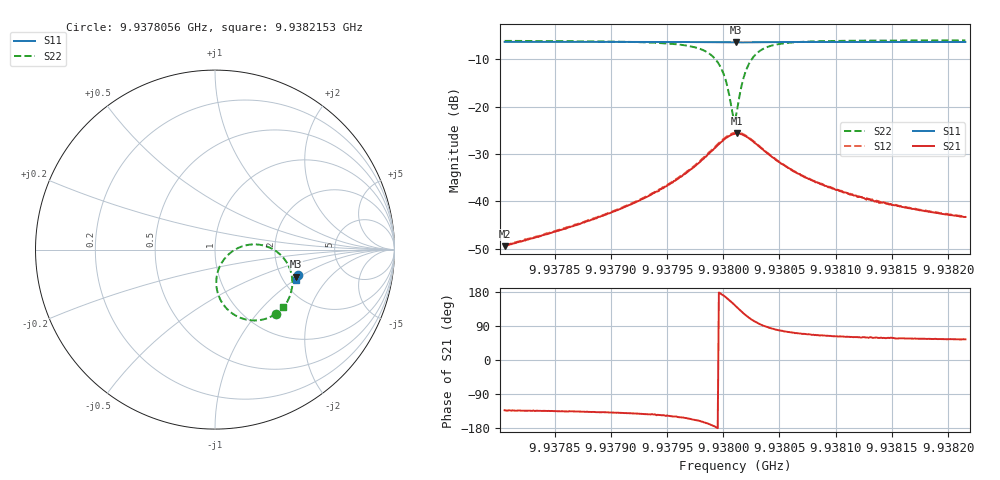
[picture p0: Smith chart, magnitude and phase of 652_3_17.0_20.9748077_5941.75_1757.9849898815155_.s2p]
#  HZ  S  RI  R  50.00
! Rohde & Schwarz Vector Network Analyzer
! Rohde-Schwarz,ZNB20-2Port,1311601062101988,3.16
! Created: UTC 3/20/2024, 11:21:18 PM
! freq[Hz]  re:S11  im:S11  re:S21  im:S21  re:S12  im:S12  re:S22  im:S22
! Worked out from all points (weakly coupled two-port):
!   401 points, 9.9378056 GHz to 9.9382153 GHz, reference 50 ohm
!   highest |S21| = -25.67 dB at 9.9380125 GHz (marker M1); lowest = -49.4 dB at 9.9378056 GHz (marker M2)
!   lowest |S11| = -6.5 dB at 9.9380115 GHz (marker M3), VSWR 2.81, Z = 119 - j46.5 ohm
!   |S11| at or under -10 dB: nowhere
!   |S22| runs from -22.6 to -6.1 dB; largest |S21 - S12| = 0.0022
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9.9378056e9  0.4603 -0.1414  -0.00229 -0.00248  -0.00238 -0.00249  0.3404 -0.3567
9.93787422e9  0.4584 -0.1462  -0.00428 -0.00411  -0.00439 -0.00411  0.3191 -0.3697
9.93791417e9  0.4569 -0.1491  -0.00688 -0.00571  -0.00704 -0.00572  0.2942 -0.3812
9.93794284e9  0.4559 -0.1514  -0.0106 -0.00736  -0.0111 -0.00751  0.2591 -0.3911
9.93797459e9  0.4537 -0.1538  -0.0216 -0.00879  -0.0222 -0.00872  0.1666 -0.3881
9.93799098e9  0.4517 -0.1546  -0.0348 -0.00386  -0.036 -0.00327  0.0652 -0.3288
9.9379961e9  0.4508 -0.1546  -0.0402 0.0013  -0.0412 0.0022  0.0301 -0.2793
9.9380002e9  0.4501 -0.1541  -0.0439 0.00763  -0.0447 0.00878  0.0107 -0.2223
9.93800327e9  0.4495 -0.1535  -0.0454 0.0136  -0.0462 0.0152  0.00736 -0.1696
9.93800839e9  0.4494 -0.1525  -0.0442 0.0256  -0.0444 0.0276  0.0368 -0.0743
9.93801044e9  0.4494 -0.152  -0.042 0.0303  -0.0419 0.0324  0.0624 -0.04
9.93801146e9  0.4495 -0.1516  -0.0403 0.0326  -0.0403 0.0346  0.0776 -0.0248
9.93801249e9  0.4497 -0.1515  -0.0389 0.0346  -0.0385 0.0365  0.0943 -0.0115
9.93801658e9  0.4504 -0.1508  -0.0306 0.0407  -0.0299 0.0425  0.1703 0.0235
9.93801966e9  0.4509 -0.1504  -0.0237 0.0428  -0.0228 0.0443  0.2282 0.029
9.93802375e9  0.4518 -0.1506  -0.0153 0.0428  -0.0142 0.0439  0.2954 0.0148
9.9380299e9  0.4529 -0.1512  -0.0058 0.0394  -0.00485 0.04  0.3643 -0.0284
9.93804629e9  0.454 -0.1535  0.00459 0.0273  0.00521 0.0277  0.4267 -0.1405
9.93807906e9  0.4537 -0.1569  0.00667 0.0152  0.00694 0.0152  0.4231 -0.2408
9.93810978e9  0.4529 -0.1594  0.00588 0.0109  0.00605 0.0107  0.4094 -0.2773
9.93814768e9  0.4519 -0.1622  0.00493 0.00786  0.00511 0.0079  0.3964 -0.2999
9.93821527e9  0.45 -0.1669  0.00398 0.00558  0.00413 0.00557  0.3816 -0.32
